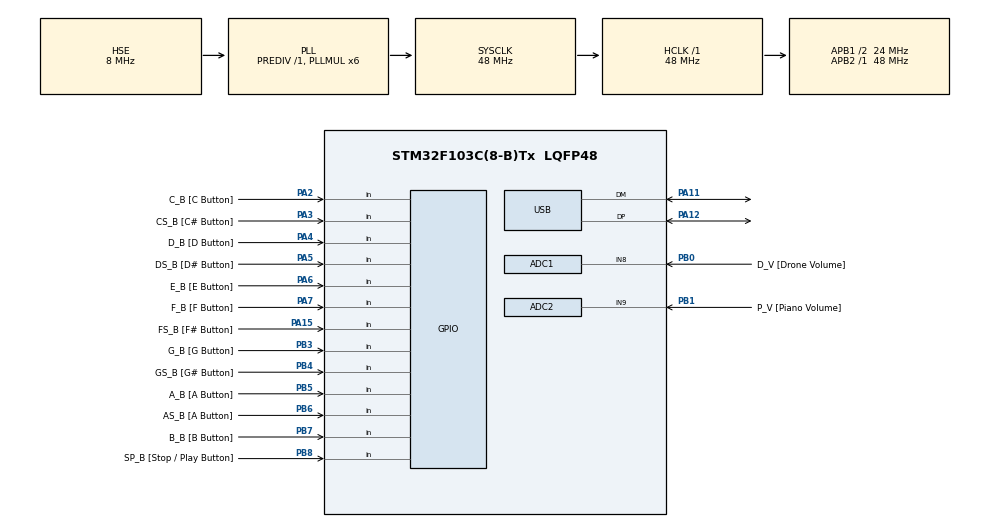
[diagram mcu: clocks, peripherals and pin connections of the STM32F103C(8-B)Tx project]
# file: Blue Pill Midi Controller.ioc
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ADC1.Channel-2\#ChannelRegularConversion=ADC_CHANNEL_8
ADC1.DiscontinuousConvMode=DISABLE
ADC1.NbrOfConversion=1
ADC1.NbrOfConversionFlag=1
ADC1.Rank-2\#ChannelRegularConversion=1
ADC1.SamplingTime-2\#ChannelRegularConversion=ADC_SAMPLETIME_1CYCLE_5
ADC1.master=1
ADC2.Channel-4\#ChannelRegularConversion=ADC_CHANNEL_9
ADC2.NbrOfConversionFlag=1
ADC2.Rank-4\#ChannelRegularConversion=1
ADC2.SamplingTime-4\#ChannelRegularConversion=ADC_SAMPLETIME_1CYCLE_5
Mcu.Family=STM32F1
Mcu.Name=STM32F103C(8-B)Tx
Mcu.Package=LQFP48
NVIC.PriorityGroup=NVIC_PRIORITYGROUP_4
NVIC.TIM2_IRQn=true\:0\:0\:false\:false\:true\:true\:true\:true
NVIC.TIM3_IRQn=true\:0\:0\:false\:false\:true\:true\:true\:true
NVIC.USB_LP_CAN1_RX0_IRQn=true\:0\:0\:false\:false\:true\:false\:true\:true
PA11.Mode=Device
PA11.Signal=USB_DM
PA12.Mode=Device
PA12.Signal=USB_DP
PA13.Mode=Serial_Wire
PA13.Signal=SYS_JTMS-SWDIO
PA14.Mode=Serial_Wire
PA14.Signal=SYS_JTCK-SWCLK
PA15.GPIO_Label=FS_B [F\# Button]
PA15.GPIO_PuPd=GPIO_PULLUP
PA15.Signal=GPIO_Input
PA2.GPIO_Label=C_B [C Button]
PA2.GPIO_PuPd=GPIO_PULLUP
PA2.Signal=GPIO_Input
PA3.GPIO_Label=CS_B [C\# Button]
PA3.GPIO_PuPd=GPIO_PULLUP
PA3.Signal=GPIO_Input
PA4.GPIO_Label=D_B [D Button]
PA4.GPIO_PuPd=GPIO_PULLUP
PA4.Signal=GPIO_Input
PA5.GPIO_Label=DS_B [D\# Button]
PA5.GPIO_PuPd=GPIO_PULLUP
PA5.Signal=GPIO_Input
PA6.GPIO_Label=E_B [E Button]
PA6.GPIO_PuPd=GPIO_PULLUP
PA6.Signal=GPIO_Input
PA7.GPIO_Label=F_B [F Button]
PA7.GPIO_PuPd=GPIO_PULLUP
PA7.Signal=GPIO_Input
PB0.GPIO_Label=D_V [Drone Volume]
PB0.Signal=ADCx_IN8
PB1.GPIO_Label=P_V [Piano Volume]
PB1.Signal=ADCx_IN9
PB3.GPIO_Label=G_B [G Button]
PB3.GPIO_PuPd=GPIO_PULLUP
PB3.Signal=GPIO_Input
PB4.GPIO_Label=GS_B [G\# Button]
PB4.GPIO_PuPd=GPIO_PULLUP
PB4.Signal=GPIO_Input
PB5.GPIO_Label=A_B [A Button]
PB5.GPIO_PuPd=GPIO_PULLUP
PB5.Signal=GPIO_Input
PB6.GPIO_Label=AS_B [A Button]
PB6.GPIO_PuPd=GPIO_PULLUP
PB6.Signal=GPIO_Input
PB7.GPIO_Label=B_B [B Button]
PB7.GPIO_PuPd=GPIO_PULLUP
PB7.Signal=GPIO_Input
PB8.GPIO_Label=SP_B [Stop / Play Button]
PB8.GPIO_PuPd=GPIO_PULLUP
PB8.Signal=GPIO_Input
PD0-OSC_IN.Mode=HSE-External-Oscillator
PD0-OSC_IN.Signal=RCC_OSC_IN
PD1-OSC_OUT.Mode=HSE-External-Oscillator
PD1-OSC_OUT.Signal=RCC_OSC_OUT
ProjectManager.HeapSize=0x200
ProjectManager.StackSize=0x400
ProjectManager.TargetToolchain=STM32CubeIDE
RCC.ADCPresc=RCC_ADCPCLK2_DIV4
RCC.AHBFreq_Value=48000000
RCC.APB1CLKDivider=RCC_HCLK_DIV2
RCC.APB1Freq_Value=24000000
RCC.APB1TimFreq_Value=48000000
RCC.APB2Freq_Value=48000000
RCC.APB2TimFreq_Value=48000000
RCC.HCLKFreq_Value=48000000
RCC.PLLMUL=RCC_PLL_MUL6
RCC.SYSCLKFreq_VALUE=48000000
RCC.SYSCLKSource=RCC_SYSCLKSOURCE_PLLCLK
RCC.USBFreq_Value=48000000
SH.ADCx_IN8.0=ADC1_IN8,IN8
SH.ADCx_IN9.0=ADC2_IN9,IN9
TIM2.Period=799
TIM2.Prescaler=359
TIM3.Period=799
TIM3.Prescaler=1799
USB_DEVICE.CLASS_NAME_FS=HID
USB_DEVICE.MANUFACTURER_STRING=Vandar Systems
USB_DEVICE.PRODUCT_STRING_HID_FS=Vandar Midi Controller
USB_DEVICE.VirtualMode=Hid
USB_DEVICE.VirtualModeFS=Hid_FS
VP_TIM2_VS_ClockSourceINT.Mode=Internal
VP_TIM3_VS_ClockSourceINT.Mode=Internal
VP_USB_DEVICE_VS_USB_DEVICE_HID_FS.Mode=HID_FS
board=custom

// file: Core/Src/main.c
/* USER CODE BEGIN Header */
/**
  ******************************************************************************
  * @file           : main.c
  * @brief          : Main program body
  ******************************************************************************
  * @attention
  *
  * Copyright (c) 2025 STMicroelectronics.
  * All rights reserved.
  *
  * This software is licensed under terms that can be found in the LICENSE file
  * in the root directory of this software component.
  * If no LICENSE file comes with this software, it is provided AS-IS.
  *
  ******************************************************************************
  */
/* USER CODE END Header */
#include "main.h"
#include "usb_device.h"

/* USER CODE BEGIN Includes */
#include "usbd_midi.h"
#include "queue.h"
/* USER CODE END Includes */

ADC_HandleTypeDef hadc1;
ADC_HandleTypeDef hadc2;

TIM_HandleTypeDef htim2;
TIM_HandleTypeDef htim3;

/* USER CODE BEGIN PV */
extern USBD_HandleTypeDef hUsbDeviceFS;

extern uint16_t D_previous;
extern uint16_t D_current;
extern uint16_t D_sum;

extern uint16_t P_previous;
extern uint16_t P_current;
extern uint16_t P_sum;

extern uint8_t D_vol_message [4];
extern uint8_t P_vol_message [4];
/* USER CODE END PV */

void SystemClock_Config(void);
static void MX_GPIO_Init(void);
static void MX_ADC1_Init(void);
static void MX_TIM2_Init(void);
static void MX_ADC2_Init(void);
static void MX_TIM3_Init(void);
/* USER CODE BEGIN PFP */
uint16_t ADC_Convert_Rank1 (void);
uint16_t ADC_Convert_Rank2 (void);
/* USER CODE END PFP */

/* USER CODE BEGIN 0 */
uint16_t ADC_Convert_Rank1 (void) {
	ADC_ChannelConfTypeDef sConfig = {0};

	sConfig.Channel = ADC_CHANNEL_8;
	sConfig.Rank = ADC_REGULAR_RANK_1;
	sConfig.SamplingTime = ADC_SAMPLETIME_1CYCLE_5;
	if (HAL_ADC_ConfigChannel(&hadc1, &sConfig) != HAL_OK)
	{
		Error_Handler();
	}

	HAL_ADC_Start (&hadc1);
	HAL_ADC_PollForConversion (&hadc1, 100);
	uint16_t val = HAL_ADC_GetValue (&hadc1);
	HAL_ADC_Stop (&hadc1);

	return val;
}

uint16_t ADC_Convert_Rank2 (void) {
	ADC_ChannelConfTypeDef sConfig = {0};

	sConfig.Channel = ADC_CHANNEL_9; // ADC_CHANNEL_0
 	sConfig.Rank = ADC_REGULAR_RANK_1;
	sConfig.SamplingTime = ADC_SAMPLETIME_1CYCLE_5;
	if (HAL_ADC_ConfigChannel(&hadc2 /*&hadc1*/, &sConfig) != HAL_OK)
	{
		Error_Handler();
	}

	HAL_ADC_Start (&hadc2 /*&hadc1*/);
	HAL_ADC_PollForConversion (&hadc2 /*&hadc1*/, 100);
	uint16_t val = HAL_ADC_GetValue (&hadc2 /*&hadc1*/);
	HAL_ADC_Stop (&hadc2 /*&hadc1*/);

	return val;
}
/* USER CODE END 0 */

int main(void)
{

  /* MCU Configuration--------------------------------------------------------*/

  /* Reset of all peripherals, Initializes the Flash interface and the Systick. */
  HAL_Init();

  /* Configure the system clock */
  SystemClock_Config();

  /* Initialize all configured peripherals */
  MX_GPIO_Init();
  MX_USB_DEVICE_Init();
  MX_ADC1_Init();
  MX_TIM2_Init();
  MX_ADC2_Init();
  MX_TIM3_Init();
  /* USER CODE BEGIN 2 */
  Queue_Init (DEFAULT_QUEUE_SIZE);

  HAL_Delay (1000);

	for (uint8_t i = 0; i < 16; i++)	D_sum += ~(ADC_Convert_Rank1 ());

	D_current = ((D_sum >> 4) * 127) / 4095;
	D_sum = 0;

	D_previous = D_current;
	D_vol_message [3] = D_current;

//		while (USBD_MIDI_GetState (&hUsbDeviceFS) != MIDI_IDLE) {}
	USBD_MIDI_SendPackets (&hUsbDeviceFS, D_vol_message, 4);
//		Enqueue (D_vol_message);

	for (uint8_t i = 0; i < 16; i++)	P_sum += ~(ADC_Convert_Rank2 ());

	P_current = ((P_sum >> 4) * 127) / 4095;
	P_sum = 0;

	P_previous = P_current;
	P_vol_message [3] = P_current;

//		while (USBD_MIDI_GetState (&hUsbDeviceFS) != MIDI_IDLE) {}
	USBD_MIDI_SendPackets (&hUsbDeviceFS, P_vol_message, 4);
//		Enqueue (P_vol_message);

	HAL_Delay (1000);

  HAL_NVIC_SetPriority (TIM2_IRQn, 0, 0);
  HAL_NVIC_EnableIRQ (TIM2_IRQn);
  HAL_TIM_Base_Start_IT (&htim2);

  HAL_NVIC_SetPriority (TIM3_IRQn , 0, 0);
  HAL_NVIC_EnableIRQ (TIM3_IRQn );
  HAL_TIM_Base_Start_IT (&htim3);
  /* USER CODE END 2 */

  /* Infinite loop */
  while (1)
  {

    /* USER CODE BEGIN 3 */
  }
  Queue_Deinit ();
  /* USER CODE END 3 */
}

void SystemClock_Config(void)
{
  RCC_OscInitTypeDef RCC_OscInitStruct = {0};
  RCC_ClkInitTypeDef RCC_ClkInitStruct = {0};
  RCC_PeriphCLKInitTypeDef PeriphClkInit = {0};

  /** Initializes the RCC Oscillators according to the specified parameters
  * in the RCC_OscInitTypeDef structure.
  */
  RCC_OscInitStruct.OscillatorType = RCC_OSCILLATORTYPE_HSE;
  RCC_OscInitStruct.HSEState = RCC_HSE_ON;
  RCC_OscInitStruct.HSEPredivValue = RCC_HSE_PREDIV_DIV1;
  RCC_OscInitStruct.HSIState = RCC_HSI_ON;
  RCC_OscInitStruct.PLL.PLLState = RCC_PLL_ON;
  RCC_OscInitStruct.PLL.PLLSource = RCC_PLLSOURCE_HSE;
  RCC_OscInitStruct.PLL.PLLMUL = RCC_PLL_MUL6;
  if (HAL_RCC_OscConfig(&RCC_OscInitStruct) != HAL_OK)
  {
    Error_Handler();
  }

  /** Initializes the CPU, AHB and APB buses clocks
  */
  RCC_ClkInitStruct.ClockType = RCC_CLOCKTYPE_HCLK|RCC_CLOCKTYPE_SYSCLK
                              |RCC_CLOCKTYPE_PCLK1|RCC_CLOCKTYPE_PCLK2;
  RCC_ClkInitStruct.SYSCLKSource = RCC_SYSCLKSOURCE_PLLCLK;
  RCC_ClkInitStruct.AHBCLKDivider = RCC_SYSCLK_DIV1;
  RCC_ClkInitStruct.APB1CLKDivider = RCC_HCLK_DIV2;
  RCC_ClkInitStruct.APB2CLKDivider = RCC_HCLK_DIV1;

  if (HAL_RCC_ClockConfig(&RCC_ClkInitStruct, FLASH_LATENCY_1) != HAL_OK)
  {
    Error_Handler();
  }
  PeriphClkInit.PeriphClockSelection = RCC_PERIPHCLK_ADC|RCC_PERIPHCLK_USB;
  PeriphClkInit.AdcClockSelection = RCC_ADCPCLK2_DIV4;
  PeriphClkInit.UsbClockSelection = RCC_USBCLKSOURCE_PLL;
  if (HAL_RCCEx_PeriphCLKConfig(&PeriphClkInit) != HAL_OK)
  {
    Error_Handler();
  }
}

static void MX_ADC1_Init(void)
{

  ADC_ChannelConfTypeDef sConfig = {0};

  /** Common config
  */
  hadc1.Instance = ADC1;
  hadc1.Init.ScanConvMode = ADC_SCAN_ENABLE;
  hadc1.Init.ContinuousConvMode = DISABLE;
  hadc1.Init.DiscontinuousConvMode = DISABLE;
  hadc1.Init.ExternalTrigConv = ADC_SOFTWARE_START;
  hadc1.Init.DataAlign = ADC_DATAALIGN_RIGHT;
  hadc1.Init.NbrOfConversion = 2;
  if (HAL_ADC_Init(&hadc1) != HAL_OK)
  {
    Error_Handler();
  }

  /** Configure Regular Channel
  */
  sConfig.Channel = ADC_CHANNEL_8;
  sConfig.Rank = ADC_REGULAR_RANK_1;
  sConfig.SamplingTime = ADC_SAMPLETIME_1CYCLE_5;
  if (HAL_ADC_ConfigChannel(&hadc1, &sConfig) != HAL_OK)
  {
    Error_Handler();
  }

  /** Configure Regular Channel
  */
  sConfig.Channel = ADC_CHANNEL_0;
  sConfig.Rank = ADC_REGULAR_RANK_2;
  if (HAL_ADC_ConfigChannel(&hadc1, &sConfig) != HAL_OK)
  {
    Error_Handler();
  }

}

static void MX_ADC2_Init(void)
{

  ADC_ChannelConfTypeDef sConfig = {0};

  /** Common config
  */
  hadc2.Instance = ADC2;
  hadc2.Init.ScanConvMode = ADC_SCAN_DISABLE;
  hadc2.Init.ContinuousConvMode = DISABLE;
  hadc2.Init.DiscontinuousConvMode = DISABLE;
  hadc2.Init.ExternalTrigConv = ADC_SOFTWARE_START;
  hadc2.Init.DataAlign = ADC_DATAALIGN_RIGHT;
  hadc2.Init.NbrOfConversion = 1;
  if (HAL_ADC_Init(&hadc2) != HAL_OK)
  {
    Error_Handler();
  }

  /** Configure Regular Channel
  */
  sConfig.Channel = ADC_CHANNEL_9;
  sConfig.Rank = ADC_REGULAR_RANK_1;
  sConfig.SamplingTime = ADC_SAMPLETIME_1CYCLE_5;
  if (HAL_ADC_ConfigChannel(&hadc2, &sConfig) != HAL_OK)
  {
    Error_Handler();
  }

}

static void MX_TIM2_Init(void)
{

  TIM_ClockConfigTypeDef sClockSourceConfig = {0};
  TIM_MasterConfigTypeDef sMasterConfig = {0};

  htim2.Instance = TIM2;
  htim2.Init.Prescaler = 359;
  htim2.Init.CounterMode = TIM_COUNTERMODE_UP;
  htim2.Init.Period = 799;
  htim2.Init.ClockDivision = TIM_CLOCKDIVISION_DIV1;
  htim2.Init.AutoReloadPreload = TIM_AUTORELOAD_PRELOAD_DISABLE;
  if (HAL_TIM_Base_Init(&htim2) != HAL_OK)
  {
    Error_Handler();
  }
  sClockSourceConfig.ClockSource = TIM_CLOCKSOURCE_INTERNAL;
  if (HAL_TIM_ConfigClockSource(&htim2, &sClockSourceConfig) != HAL_OK)
  {
    Error_Handler();
  }
  sMasterConfig.MasterOutputTrigger = TIM_TRGO_RESET;
  sMasterConfig.MasterSlaveMode = TIM_MASTERSLAVEMODE_DISABLE;
  if (HAL_TIMEx_MasterConfigSynchronization(&htim2, &sMasterConfig) != HAL_OK)
  {
    Error_Handler();
  }

}

static void MX_TIM3_Init(void)
{

  TIM_ClockConfigTypeDef sClockSourceConfig = {0};
  TIM_MasterConfigTypeDef sMasterConfig = {0};

  htim3.Instance = TIM3;
  htim3.Init.Prescaler = 1799;
  htim3.Init.CounterMode = TIM_COUNTERMODE_UP;
  htim3.Init.Period = 799;
  htim3.Init.ClockDivision = TIM_CLOCKDIVISION_DIV1;
  htim3.Init.AutoReloadPreload = TIM_AUTORELOAD_PRELOAD_DISABLE;
  if (HAL_TIM_Base_Init(&htim3) != HAL_OK)
  {
    Error_Handler();
  }
  sClockSourceConfig.ClockSource = TIM_CLOCKSOURCE_INTERNAL;
  if (HAL_TIM_ConfigClockSource(&htim3, &sClockSourceConfig) != HAL_OK)
  {
    Error_Handler();
  }
  sMasterConfig.MasterOutputTrigger = TIM_TRGO_RESET;
  sMasterConfig.MasterSlaveMode = TIM_MASTERSLAVEMODE_DISABLE;
  if (HAL_TIMEx_MasterConfigSynchronization(&htim3, &sMasterConfig) != HAL_OK)
  {
    Error_Handler();
  }

}

static void MX_GPIO_Init(void)
{
  GPIO_InitTypeDef GPIO_InitStruct = {0};

  /* GPIO Ports Clock Enable */
  __HAL_RCC_GPIOD_CLK_ENABLE();
  __HAL_RCC_GPIOA_CLK_ENABLE();
  __HAL_RCC_GPIOB_CLK_ENABLE();

  /*Configure GPIO pins : C_B_Pin CS_B_Pin D_B_Pin DS_B_Pin
                           E_B_Pin F_B_Pin FS_B_Pin */
  GPIO_InitStruct.Pin = C_B_Pin|CS_B_Pin|D_B_Pin|DS_B_Pin
                          |E_B_Pin|F_B_Pin|FS_B_Pin;
  GPIO_InitStruct.Mode = GPIO_MODE_INPUT;
  GPIO_InitStruct.Pull = GPIO_PULLUP;
  HAL_GPIO_Init(GPIOA, &GPIO_InitStruct);

  /*Configure GPIO pins : G_B_Pin GS_B_Pin A_B_Pin AS_B_Pin
                           B_B_Pin SP_B_Pin */
  GPIO_InitStruct.Pin = G_B_Pin|GS_B_Pin|A_B_Pin|AS_B_Pin
                          |B_B_Pin|SP_B_Pin;
  GPIO_InitStruct.Mode = GPIO_MODE_INPUT;
  GPIO_InitStruct.Pull = GPIO_PULLUP;
  HAL_GPIO_Init(GPIOB, &GPIO_InitStruct);

}

void Error_Handler(void)
{
  __disable_irq();
  while (1)
  {
  }
}
